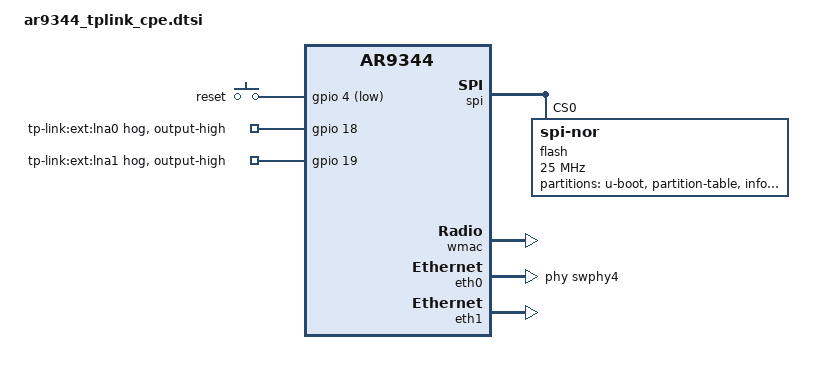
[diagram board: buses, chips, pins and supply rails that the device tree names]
// SPDX-License-Identifier: GPL-2.0-or-later OR MIT

#include "ar9344.dtsi"

#include <dt-bindings/gpio/gpio.h>
#include <dt-bindings/input/input.h>
#include <dt-bindings/mtd/partitions/uimage.h>

/ {
	aliases {
		label-mac-device = &wmac;
	};

	keys {
		compatible = "gpio-keys";

		reset {
			linux,code = <KEY_RESTART>;
			gpios = <&gpio 4 GPIO_ACTIVE_LOW>;
			debounce-interval = <60>;
		};
	};
};

&ref {
	clock-frequency = <40000000>;
};

&spi {
	status = "okay";

	flash@0 {
		compatible = "jedec,spi-nor";
		reg = <0>;
		spi-max-frequency = <25000000>;

		partitions {
			compatible = "fixed-partitions";
			#address-cells = <1>;
			#size-cells = <1>;

			uboot: partition@0 {
				label = "u-boot";
				reg = <0x000000 0x020000>;
				read-only;
			};

			partition@20000 {
				label = "partition-table";
				reg = <0x020000 0x010000>;
				read-only;
			};

			info: partition@30000 {
				label = "info";
				reg = <0x030000 0x010000>;
				read-only;
			};

			partition@40000 {
				label = "firmware";
				reg = <0x040000 0x780000>;
				compatible = "openwrt,uimage", "denx,uimage";
				openwrt,ih-magic = <IH_MAGIC_OKLI>;
				openwrt,offset = <0x3000>;
			};

			partition@7c0000 {
				label = "config";
				reg = <0x7c0000 0x030000>;
				read-only;
			};

			art: partition@7f0000 {
				label = "art";
				reg = <0x7f0000 0x010000>;
				read-only;
			};
		};
	};
};

&wmac {
	status = "okay";

	mtd-cal-data = <&art 0x1000>;
	nvmem-cells = <&macaddr_info_8>;
	nvmem-cell-names = "mac-address";
};

&eth0 {
	status = "okay";

	phy-handle = <&swphy4>;

	nvmem-cells = <&macaddr_info_8>;
	nvmem-cell-names = "mac-address";
};

&eth1 {
	status = "okay";
};

&gpio {
	gpio_ext_lna0 {
		gpio-hog;
		gpios = <18 GPIO_ACTIVE_HIGH>;
		output-high;
		line-name = "tp-link:ext:lna0";
	};

	gpio_ext_lna1 {
		gpio-hog;
		gpios = <19 GPIO_ACTIVE_HIGH>;
		output-high;
		line-name = "tp-link:ext:lna1";
	};
};

&info {
	compatible = "nvmem-cells";
	#address-cells = <1>;
	#size-cells = <1>;

	macaddr_info_8: macaddr@8 {
		reg = <0x8 0x6>;
	};
};
